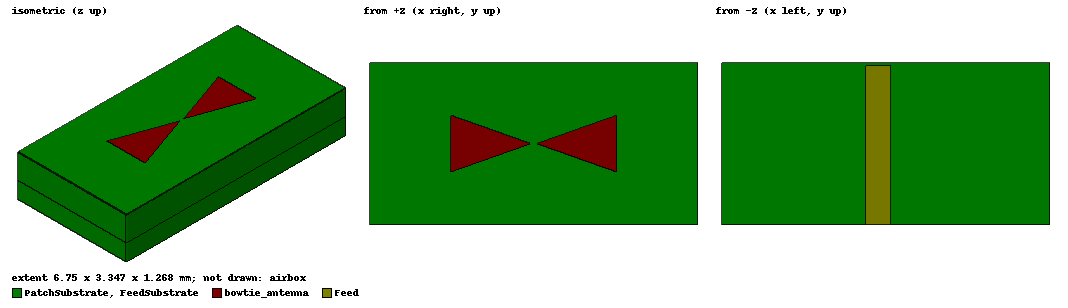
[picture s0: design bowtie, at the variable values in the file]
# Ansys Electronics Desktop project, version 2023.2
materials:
  vacuum: permittivity=1
  Rogers5880: permittivity=2.2 dielectric_loss_tangent=0.0009
  Taconic: permittivity=2.2 dielectric_loss_tangent=0.0009
  air: permittivity=1.0006 permeability=1.0000004
  copper: permeability=0.999991 conductivity=58000000

design bowtie (HFSS, HFSS Modal Network, model units mm)
options: Save_Adaptive_support_files
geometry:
  bowtie_antenna = rectangle(corner=(0mm, 0mm, 1.268mm), x_size=1.66mm, y_size=1.66mm)
  rectangle1 = rectangle(corner=(0mm, 0mm, 1.268mm), x_size=3.32mm, y_size=3.32mm)
  rectangle1.rotate(axis=Z, angle=19.480565deg)
  bowtie_antenna.subtract(rectangle1)
  bowtie_antenna.move(0.055mm, 0mm, 0mm)
  rectangle2 = rectangle(corner=(0mm, -0.83mm, 1.268mm), x_size=0.055mm, y_size=1.66mm)
  bowtie_antenna.subtract(rectangle2)
  bowtie_arm_01b = rectangle(corner=(0mm, 0mm, 1.268mm), x_size=1.66mm, y_size=-1.66mm)
  rectangle3 = rectangle(corner=(0mm, 0mm, 1.268mm), x_size=3.32mm, y_size=-3.32mm)
  rectangle3.rotate(axis=Z, angle=-19.480565deg)
  bowtie_arm_01b.subtract(rectangle3)
  bowtie_arm_01b.move(0.055mm, 0mm, 0mm)
  rectangle4 = rectangle(corner=(0mm, -0.83mm, 1.268mm), x_size=0.055mm, y_size=1.66mm)
  bowtie_arm_01b.subtract(rectangle4)
  bowtie_antenna.unite(bowtie_arm_01b)
  bowtie_arm_02a = rectangle(corner=(0mm, 0mm, 1.268mm), x_size=-1.66mm, y_size=1.66mm)
  rectangle5 = rectangle(corner=(0mm, 0mm, 1.268mm), x_size=-3.32mm, y_size=3.32mm)
  rectangle5.rotate(axis=Z, angle=-19.480565deg)
  bowtie_arm_02a.subtract(rectangle5)
  bowtie_arm_02a.move(-0.055mm, 0mm, 0mm)
  rectangle6 = rectangle(corner=(0mm, -0.83mm, 1.268mm), x_size=-0.055mm, y_size=1.66mm)
  bowtie_arm_02a.subtract(rectangle6)
  bowtie_antenna.unite(bowtie_arm_02a)
  bowtie_arm_02b = rectangle(corner=(0mm, 0mm, 1.268mm), x_size=-1.66mm, y_size=-1.66mm)
  rectangle7 = rectangle(corner=(0mm, 0mm, 1.268mm), x_size=-3.32mm, y_size=-3.32mm)
  rectangle7.rotate(axis=Z, angle=19.480565deg)
  bowtie_arm_02b.subtract(rectangle7)
  bowtie_arm_02b.move(-0.055mm, 0mm, 0mm)
  rectangle8 = rectangle(corner=(0mm, -0.83mm, 1.268mm), x_size=-0.055mm, y_size=1.66mm)
  bowtie_arm_02b.subtract(rectangle8)
  bowtie_antenna.unite(bowtie_arm_02b)
  Feed = rectangle(corner=(-0.11mm, -1.6735mm, 0mm), x_size=0.52mm, y_size=3.28mm)
  SlotHorizontal = rectangle(corner=(0mm, 0mm, 0.508mm), x_size=4.11mm, y_size=0.87mm)
  SlotHorizontal.move(-1.59mm, -0.435mm, 0mm)
  SlotVertical = rectangle(corner=(0mm, 0mm, 0.508mm), x_size=0.87mm, y_size=2.055mm)
  SlotVertical.move(-2.055mm, -0.435mm, 0mm)
  FeedSubstrate [Rogers5880] = box(corner=(-3.375mm, -1.6735mm, 0mm), size=(6.75mm, 3.347mm, 0.508mm))
  PatchSubstrate [Taconic] = box(corner=(-3.375mm, -1.6735mm, 0.508mm), size=(6.75mm, 3.347mm, 0.76mm))
  Ground = rectangle(corner=(-3.375mm, -1.6735mm, 0.508mm), x_size=6.75mm, y_size=3.347mm)
  Ground.subtract(SlotHorizontal)
  Ground.subtract(SlotVertical)
  airbox [air] = box(corner=(-7.172468mm, -5.470968mm, -3.797468mm), size=(18.142405mm, 14.739405mm, 24.05281mm))
  airbox.move(0mm, -1.6735mm, -3.797468mm)
  Port = rectangle(corner=(-0.11mm, -1.6735mm, 0mm), z_size=0.508mm, x_size=0.52mm)
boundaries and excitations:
  radiation: Radiation Objects=airbox
  finiteConductivity1: Finite Conductivity Objects=Ground UseMaterial Material=copper
  finiteConductivity2: Finite Conductivity Objects=bowtie_antenna UseMaterial Material=copper
  finiteConductivity3: Finite Conductivity Objects=Feed UseMaterial Material=copper
  port: Lumped Port Objects=Port LumpedPortType=Modal Modes{Mode1{IntLine{(-0.11, -1.6735, 0) -> (-0.11, -1.6735, 0.508)} CharImp=Zpi}} Impedance=50ohm
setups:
  Setup79000MHz: HfssDriven Frequency=79GHz MaxDeltaS=0.02 MaximumPasses=20 MinimumPasses=1 MinimumConvergedPasses=1 PercentRefinement=30 BasisOrder=1 PortAccuracy=2 DrivenSolverType="Direct Solver"
    sweep Discrete: point 79GHz; SaveSingleField Type=Discrete
  Broadband: HfssDriven MultipleAdaptiveFreqsSetup{Low=75GHz High=82GHz} MaxDeltaS=0.02 MaximumPasses=6 MinimumPasses=1 MinimumConvergedPasses=1 PercentRefinement=30 BasisOrder=1 PortAccuracy=2 DrivenSolverType="Direct Solver"
    sweep Sweep: 75GHz to 82GHz, 550 points; Type=Interpolating InterpTolerance=0.5 InterpMaxSolns=250 InterpUsePortImped=false PassivityErrorTolerance=0.0001
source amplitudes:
  port:1: 1W 0deg
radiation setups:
  radiation: Infinite Sphere Theta=0deg..360deg step 1deg Phi=0deg..360deg step 1deg
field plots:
  Mag_Jsurf1, Mag_Jsurf3: Jsurf over bowtie_antenna.face(all 2) on Broadband : LastAdaptive at Freq=78.5GHz Phase=0deg
  Mag_Jsurf2: Jsurf over Feed.face on Broadband : LastAdaptive at Freq=78.5GHz Phase=0deg
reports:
  S11: dB(S(port, port)) vs Freq on Setup79000MHz : Discrete
  XY Plot 1: dB(S(port,port)) vs Freq on Broadband : Sweep; markers m1 at 79.003643GHz, m2 at 79.016393GHz, m3 at 79.003643GHz, m4 at 75.140255GHz, MX1 at x=7.8995671e+10
  Smith Chart 1: S(port,port) on Setup79000MHz : Discrete [Freq=all]
  Smith Chart 2: S(port,port) on Broadband : Sweep [Freq=all]
  3D Polar Plot 1: dB(GainTotal) vs Phi, Theta on Broadband : LastAdaptive, radiation [Freq=78.5GHz]
  XY Plot 2: dB10normalize(RealizedGainTotal) vs Theta on Setup79000MHz : LastAdaptive, radiation [Phi=all Freq=79GHz]
  Polar Plot 1: Z(port,port) on Broadband : Sweep [Freq=all]
  Radiation Pattern 1: dB10normalize(RealizedGainTotal) vs Theta on Broadband : LastAdaptive, radiation [Phi=all Freq=78.5GHz]
  XY Plot 3: dB(GainTotal) vs Theta on Setup79000MHz : LastAdaptive, radiation [Theta=90deg Phi=all Freq=79GHz]
  3D Polar Plot 2: dB(RealizedGainTotal) vs Phi, Theta on Broadband : LastAdaptive, radiation [Freq=78.5GHz]
  XY Plot 4: dB(S(port,port)) vs Freq on Broadband : Sweep
  XY Plot 5: dB(RealizedGainTotal) vs Theta on Broadband : LastAdaptive, radiation [Phi=0deg Freq=78.5GHz]; markers MX1 at x=0, MY1 at y=5.02151
  XY Plot 6: dB(PeakRealizedGain) vs Theta on Broadband : LastAdaptive, radiation [Phi=all Freq=78.5GHz]
  XY Plot 7: dB(RadiationEfficiency) vs Theta on Broadband : LastAdaptive, radiation [Phi=0deg Freq=78.5GHz]
  XY Plot 8: re(Z(port,port)), im(Z(port,port)) vs Freq on Broadband : Sweep; markers MX1 at x=7.9003643e+10
